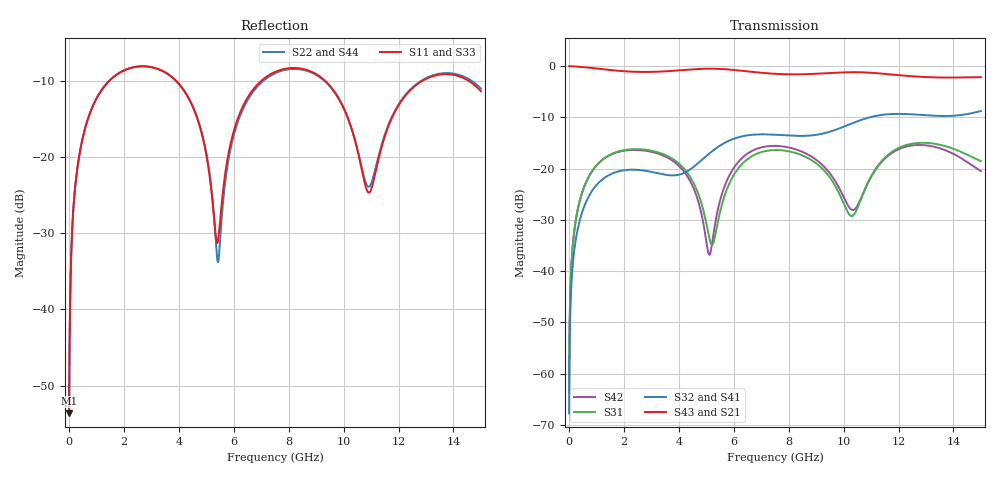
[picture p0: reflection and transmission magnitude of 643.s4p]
! Created with skrf 1.8.0 (http://scikit-rf.org).
# GHz S RI R 50.0
!freq ReS11 ImS11 ReS12 ImS12 ReS13 ImS13
! ReS14 ImS14
! ReS21 ImS21 ReS22 ImS22 ReS23 ImS23
! ReS24 ImS24
! ReS31 ImS31 ReS32 ImS32 ReS33 ImS33
! ReS34 ImS34
! ReS41 ImS41 ReS42 ImS42 ReS43 ImS43
! ReS44 ImS44
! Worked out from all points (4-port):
!   2499 points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, 5 MHz to 15 GHz, reference 50 ohm
!   strongest paths, dB at 5 MHz, 3.476 GHz, 7.19 GHz, 11.1 GHz, 15 GHz:
!     S43: 0.0, -1.0, -1.4, -1.3, -2.2
!     S21: 0.0, -1.0, -1.4, -1.3, -2.2
!     S32: -67.8, -21.2, -13.3, -9.8, -8.8
!     S41: -67.8, -21.3, -13.4, -9.8, -8.8
!     S31: -63.9, -17.3, -16.5, -20.6, -18.6
!     S42: -63.9, -17.6, -15.7, -20.8, -20.5
!   lowest |S11| = -53.6 dB at 5 MHz (marker M1), VSWR 1.00, Z = 50.2 + j0.127 ohm
!   |S11| at or under -10 dB: start of sweep to 1.464 GHz; 3.898 GHz to 6.999 GHz (3.101 GHz wide, 56.9 % of centre); 9.331 GHz to 12.86 GHz (3.533 GHz wide, 31.8 % of centre) (the widest 3 of 4)
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0.005  0.00166 0.00126  0.9983 -0.00323  8.25e-05 0.000634  -8.02e-05 -0.000401
       0.9983 -0.00323  0.00166 0.00126  -8.02e-05 -0.000401  8.24e-05 0.000634
       8.25e-05 0.000634  -8.02e-05 -0.000401  0.00166 0.00126  0.9983 -0.00323
       -8.02e-05 -0.000401  8.24e-05 0.000634  0.9983 -0.00323  0.00166 0.00126
0.3126303  0.0244 0.083  0.9667 -0.2006  0.011 0.0376  -0.00909 -0.0235
           0.9667 -0.2006  0.0245 0.083  -0.0091 -0.0235  0.0107 0.0376
           0.011 0.0376  -0.0091 -0.0235  0.0244 0.083  0.9667 -0.2006
           -0.00909 -0.0235  0.0107 0.0376  0.9667 -0.2006  0.0245 0.083
1.569404  0.2774 0.1777  0.5342 -0.7389  0.1284 0.0545  -0.0891 -0.00391
          0.5342 -0.7389  0.2786 0.1768  -0.0893 -0.00372  0.1246 0.0598
          0.1284 0.0545  -0.0893 -0.00372  0.2773 0.1777  0.5342 -0.7389
          -0.0891 -0.00391  0.1246 0.0598  0.5342 -0.7389  0.2787 0.1767
5.427261  0.0275 0.00677  -0.9382 -0.0554  -0.0103 0.0289  -0.00642 0.1626
          -0.9382 -0.0554  0.0204 0.000232  -0.00313 0.1627  0.0238 0.0327
          -0.0103 0.0289  -0.00313 0.1627  0.0291 0.00654  -0.9382 -0.0556
          -0.00642 0.1626  0.0238 0.0327  -0.9382 -0.0556  0.019 3.27e-05
8.384744  0.3812 -0.0328  0.00247 0.8311  0.1129 -0.0797  0.2001 -0.052
          0.00247 0.8311  0.3764 -0.0251  0.2 -0.0585  0.1152 -0.0957
          0.1129 -0.0797  0.2 -0.0585  0.3796 -0.0321  0.00231 0.8315
          0.2001 -0.052  0.1152 -0.0957  0.00231 0.8315  0.3762 -0.0257
11.18591  0.069 0.0463  0.8528 -0.0379  0.0375 0.0939  -0.023 -0.3264
          0.8528 -0.0379  0.0744 0.047  -0.0356 -0.325  0.0314 0.0941
          0.0375 0.0939  -0.0356 -0.325  0.0733 0.0454  0.8528 -0.0378
          -0.023 -0.3264  0.0314 0.0941  0.8528 -0.0378  0.0699 0.0496
15  0.2463 -0.1128  -0.4194 -0.6568  -0.0734 -0.0924  -0.312 0.1896
    -0.4194 -0.6568  0.2543 -0.1224  -0.3003 0.2068  -0.0622 -0.0713
    -0.0734 -0.0924  -0.3003 0.2068  0.2476 -0.1105  -0.4193 -0.6572
    -0.312 0.1896  -0.0622 -0.0713  -0.4193 -0.6572  0.2516 -0.1228
